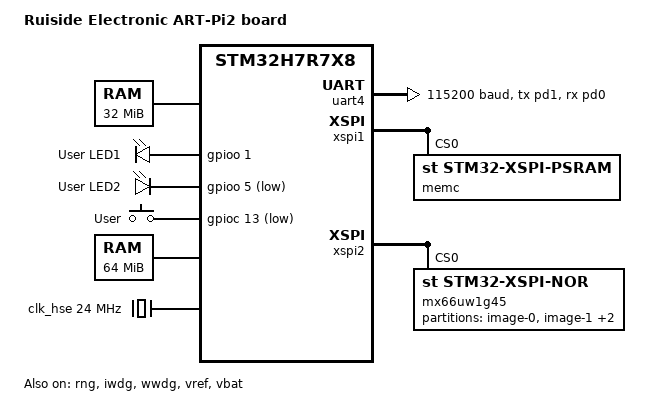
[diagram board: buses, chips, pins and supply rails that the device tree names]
/*
 * Copyright (c) 2025 Shan Pen <bricle031@gmail.com>
 *
 * SPDX-License-Identifier: Apache-2.0
 */

/dts-v1/;
#include <st/h7rs/stm32h7r7X8.dtsi>
#include <st/h7/stm32h7r7l8hxh-pinctrl.dtsi>
#include <zephyr/dt-bindings/input/input-event-codes.h>

/ {
	model = "Ruiside Electronic ART-Pi2 board";
	compatible = "ruiside,art-pi2";

	chosen {
		zephyr,console = &uart4;
		zephyr,shell-uart = &uart4;
		zephyr,sram = &sram0;
		zephyr,flash = &flash0;
	};

	psram: memory@90000000 {
		compatible = "zephyr,memory-region";
		reg = <0x90000000 DT_SIZE_M(32)>;
		zephyr,memory-region = "PSRAM";
		zephyr,memory-attr = <DT_MEM_ARM_MPU_RAM>;
	};

	leds: leds {
		compatible = "gpio-leds";

		red_led: led_1 {
			gpios = <&gpioo 1 GPIO_ACTIVE_HIGH>;
			label = "User LED1";
		};

		blue_led: led_2 {
			gpios = <&gpioo 5 GPIO_ACTIVE_LOW>;
			label = "User LED2";
		};
	};

	gpio_keys {
		compatible = "gpio-keys";

		user_button: button_0 {
			label = "User";
			gpios = <&gpioc 13 GPIO_ACTIVE_LOW>;
			zephyr,code = <INPUT_KEY_0>;
		};
	};

	aliases {
		led0 = &red_led;
		led1 = &blue_led;
		sw0 = &user_button;
		watchdog0 = &iwdg;
		die-temp0 = &die_temp;
		volt-sensor0 = &vref;
		volt-sensor1 = &vbat;
	};

	ext_memory: memory@70000000 {
		compatible = "zephyr,memory-region";
		reg = <0x70000000 DT_SIZE_M(64)>;
		zephyr,memory-region = "EXTMEM";
		/* The ATTR_MPU_EXTMEM attribut causing a MPU FAULT */
		zephyr,memory-attr = <( DT_MEM_ARM(ATTR_MPU_IO) )>;
	};
};

&flash0 {
	partitions {
		compatible = "fixed-partitions";
		#address-cells = <1>;
		#size-cells = <1>;

		/* Set the partitions with first MB to make use of the whole Bank1 */
		boot_partition: partition@0 {
			label = "mcuboot";
			reg = <0x00000000 DT_SIZE_K(64)>;
		};
	};
};

&dtcm {
	reg = <0x20000000 DT_SIZE_K(64)>;
};

&clk_hsi48 {
	status = "okay";
};

&clk_hse {
	clock-frequency = <DT_FREQ_M(24)>;
	status = "okay";
};

&pll {
	div-m = <12>;
	mul-n = <250>;
	div-p = <2>;
	div-q = <2>;
	div-r = <2>;
	div-s = <2>;
	div-t = <2>;
	clocks = <&clk_hse>;
	status = "okay";
};

&rcc {
	clocks = <&pll>;
	clock-frequency = <DT_FREQ_M(250)>;
	dcpre = <1>;
	hpre = <1>;
	ppre1 = <2>;
	ppre2 = <2>;
	ppre4 = <2>;
	ppre5 = <2>;
};

&uart4 {
	pinctrl-0 = <&uart4_tx_pd1 &uart4_rx_pd0>;
	pinctrl-names = "default";
	current-speed = <115200>;
	status = "okay";
};

&rng {
	status = "okay";
};

&iwdg {
	status = "okay";
};

&wwdg {
	status = "okay";
};

&vref {
	status = "okay";
};

&vbat {
	status = "okay";
};


&xspi1 {
	pinctrl-0 = <&xspim_p1_ncs1_po0 &xspim_p1_dqs0_po2
		     &xspim_p1_dqs1_po3 &xspim_p1_clk_po4
		     &xspim_p1_io0_pp0 &xspim_p1_io1_pp1 &xspim_p1_io2_pp2
		     &xspim_p1_io3_pp3 &xspim_p1_io4_pp4 &xspim_p1_io5_pp5
		     &xspim_p1_io6_pp6 &xspim_p1_io7_pp7 &xspim_p1_io8_pp8
		     &xspim_p1_io9_pp9 &xspim_p1_io10_pp10 &xspim_p1_io11_pp11
		     &xspim_p1_io12_pp12 &xspim_p1_io13_pp13 &xspim_p1_io14_pp14
		     &xspim_p1_io15_pp15>;

	pinctrl-names = "default";
	status = "okay";

	memc: aps256xxn-obr@0 {
		compatible = "st,stm32-xspi-psram";
		reg = <0>;
		size = <DT_SIZE_M(256)>; /* 256 Mbits */
		max-frequency = <DT_FREQ_M(200)>;
		fixed-latency;
		io-x16-mode;
		read-latency = <4>;
		write-latency = <1>;
		burst-length = <0>;
		status = "okay";
	};
};

&xspi2 {
	pinctrl-0 = <&xspim_p2_clk_pn6 &xspim_p2_ncs1_pn1
		     &xspim_p2_io0_pn2 &xspim_p2_io1_pn3
		     &xspim_p2_io2_pn4 &xspim_p2_io3_pn5
		     &xspim_p2_io4_pn8 &xspim_p2_io5_pn9
		     &xspim_p2_io6_pn10 &xspim_p2_io7_pn11
		     &xspim_p2_dqs0_pn0>;
	pinctrl-names = "default";
	status = "okay";

	mx66uw1g45: xspi-nor-flash@0 {
		compatible = "st,stm32-xspi-nor";
		reg = <0>;
		size = <DT_SIZE_M(64)>; /* 512 Mbits */
		ospi-max-frequency = <DT_FREQ_M(5)>;
		spi-bus-width = <XSPI_OCTO_MODE>;
		data-rate = <XSPI_DTR_TRANSFER>;
		status = "okay";

		partitions {
			compatible = "fixed-partitions";
			#address-cells = <1>;
			#size-cells = <1>;

			slot0_partition: partition@0 {
				label = "image-0";
				reg = <0x00000000 DT_SIZE_K(512)>;
			};

			slot1_partition: partition@80000 {
				label = "image-1";
				reg = <0x0080000 DT_SIZE_K(512)>;
			};

			scratch_partition: partition@100000 {
				label = "image-scratch";
				reg = <0x00100000 DT_SIZE_K(64)>;
			};

			storage_partition: partition@110000 {
				label = "storage";
				reg = <0x00110000 DT_SIZE_K(64)>;
			};
		};
	};
};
